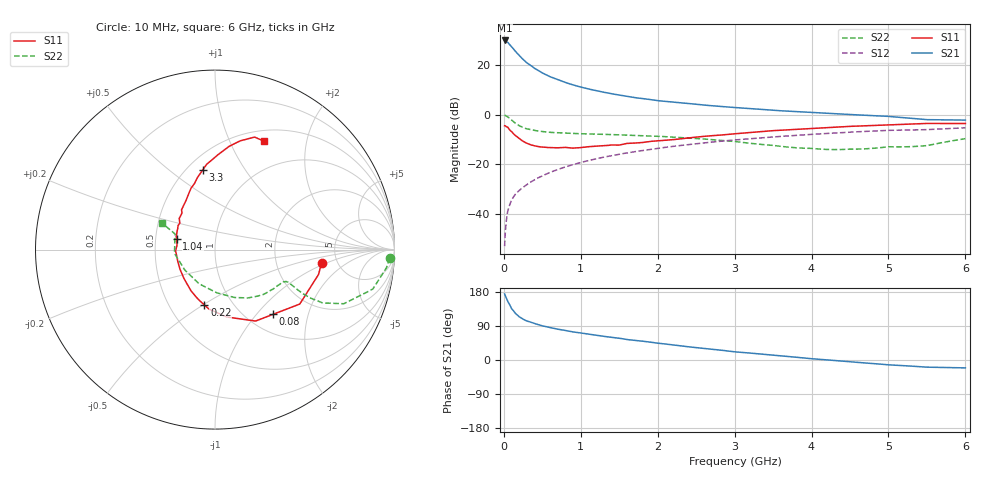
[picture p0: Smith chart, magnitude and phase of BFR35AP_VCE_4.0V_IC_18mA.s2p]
! Infineon Technologies  Discrete & RF Semiconductors
! BFR35AP
! VCE =  4.0 V,  IC =  18 mA
! Common Emitter S-Parameters:  Nov 2015
# GHz  S  MA  R  50
!  f  S11  S21  S12  S22
! GHz  MAG  ANG  MAG  ANG  MAG  ANG  MAG  ANG
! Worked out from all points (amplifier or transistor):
!   210 points, 10 MHz to 6 GHz, reference 50 ohm
!   highest |S21| = 29.7 dB at 10 MHz (marker M1)
!   |S21| within 3 dB of that: start of sweep to 114.7 MHz
!   unconditionally stable (mu >= 1): 435.3 MHz to 2.99 GHz
!   at 185 MHz: K = 0.71, MSG = 27.5 dB, |S12| = -30.8 dB
!   at 1.52 GHz: K = 1.11, MAG = 9.8 dB, |S12| = -15.8 dB
!   at 6 GHz: K = 0.94, MSG = 1.5 dB, |S12| = -5.3 dB
!   S11 on the Smith chart (normalised r, x): 10 MHz: 3.78, -0.85; 80 MHz: 1.30, -1.23; 220 MHz: 0.74, -0.51; 1.04 GHz: 0.64, +0.08; 3.3 GHz: 0.60, +0.66; 6 GHz: 0.63, +1.35
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0.01  0.5984 -6.9  30.67 174.4  0.0023 84.5  0.9741 -2.8
0.02  0.5933 -13.5  30.16 169.0  0.0046 80.5  0.961 -6.0
0.05  0.5613 -32.7  28.23 154.8  0.0115 77.3  0.9066 -14.0
0.08  0.4848 -48.0  24.86 144.4  0.0161 71.4  0.8273 -19.0
0.1  0.4578 -60.4  23.18 135.9  0.0193 69.0  0.7785 -22.8
0.15  0.3813 -80.1  18.58 122.6  0.0253 65.8  0.6718 -26.3
0.2  0.3327 -95.9  15.24 114.1  0.0301 65.6  0.5995 -26.9
0.22  0.3143 -100.8  14.22 111.7  0.032 65.6  0.5792 -26.8
0.26  0.2855 -111.2  12.38 106.7  0.0357 66.0  0.5426 -26.6
0.3  0.2657 -120.2  10.91 102.8  0.0395 67.0  0.5183 -26.1
0.4  0.2362 -137.1  8.464 96.0  0.0494 67.9  0.48 -25.1
0.5  0.2235 -151.0  6.842 90.1  0.059 69.1  0.4568 -24.2
0.7  0.216 -171.2  5.016 81.3  0.0791 69.6  0.4326 -24.2
1.02  0.2199 165.7  3.503 70.7  0.1116 68.3  0.413 -26.8
1.04  0.2217 164.6  3.443 70.2  0.1136 68.1  0.4123 -27.1
1.4  0.2458 146.7  2.615 60.0  0.1499 65.4  0.3977 -31.9
2.02  0.3001 125.9  1.891 44.0  0.2124 59.0  0.367 -43.0
3.1  0.4246 102.0  1.351 20.0  0.3192 46.1  0.2769 -71.0
3.3  0.4499 98.7  1.282 16.5  0.3377 43.5  0.2564 -78.7
4.1  0.538 87.0  1.086 1.9  0.4103 33.3  0.2039 -120.8
5.1  0.6301 75.6  0.894 -13.8  0.4857 19.2  0.2251 179.8
6  0.6627 65.7  0.776 -20.8  0.5444 8.8  0.3297 153.4
